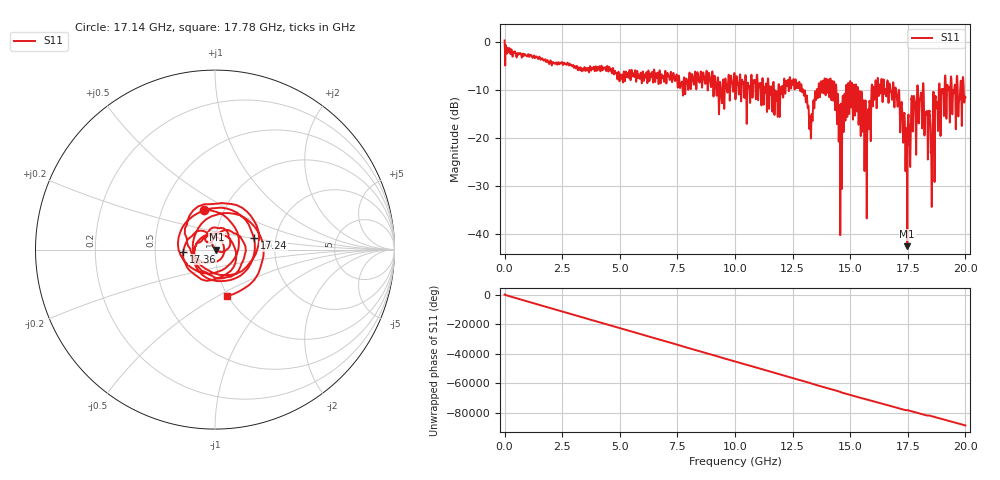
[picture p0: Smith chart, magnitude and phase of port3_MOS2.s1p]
! MS46122B
! 2250307/22442219
! 7/23/2025 7:54:20 AM
! C:\USERS\SPARKY\DOCUMENTS\VNA_DATA\JULY23_2025\3K\PORT3_MOS2.S1P
! CHANNEL.1
! TR.MEASUREMENT
! RAW.DATA
# GHZ S RI R 50.0
! FREQ.GHZ  S11RE  S11IM
!; PortSelection: Port_1
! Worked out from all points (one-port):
!   10001 points, 1 MHz to 20 GHz, reference 50 ohm
!   lowest |S11| = -42.5 dB at 17.47 GHz (marker M1), VSWR 1.02, Z = 50.8 + j0.0372 ohm
!   |S11| at or under -10 dB: 15.34 GHz to 15.92 GHz (587.1 MHz wide, 3.76 % of centre); 17.12 GHz to 17.91 GHz (785.1 MHz wide, 4.48 % of centre); 18.19 GHz to 18.85 GHz (656.9 MHz wide, 3.55 % of centre) (the widest 3 of 82)
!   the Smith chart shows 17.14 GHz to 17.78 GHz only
!   S11 on the Smith chart (normalised r, x): 17.14 GHz: 0.81, +0.38; 17.24 GHz: 1.54, +0.21; 17.36 GHz: 0.70, -0.02; 17.78 GHz: 0.99, -0.55
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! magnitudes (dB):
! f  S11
! 1 MHz  0.4
! 2.501 GHz  -4.2
! 5.001 GHz  -7.7
! 7.501 GHz  -8.5
! 10 GHz  -8.5
! 11.79 GHz  -12.2
! 12.5 GHz  -8.8
! 12.96 GHz  -9.8
! 13.29 GHz  -18.9
! 13.64 GHz  -8.6
! 14.22 GHz  -8.1
! 14.57 GHz  -25.9
! 15 GHz  -8.0
! 15.71 GHz  -24.1
! 16.02 GHz  -9.4
! 16.27 GHz  -8.9
! 17.14 GHz  -12.8
! 17.24 GHz  -12.9
! 17.36 GHz  -15.0
! 17.47 GHz  -42.5
! 17.5 GHz  -17.3
! 17.78 GHz  -11.4
! 18.1 GHz  -14.5
! 18.46 GHz  -15.9
! 18.59 GHz  -15.1
! 18.68 GHz  -12.7
! 19.05 GHz  -11.5
! 20 GHz  -11.5
